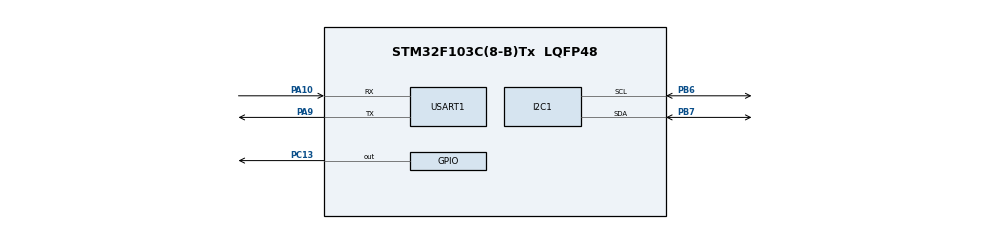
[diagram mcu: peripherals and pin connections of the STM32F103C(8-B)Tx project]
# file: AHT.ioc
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Mcu.Family=STM32F1
Mcu.Name=STM32F103C(8-B)Tx
Mcu.Package=LQFP48
NVIC.I2C1_EV_IRQn=true\:0\:0\:false\:false\:true\:true\:true\:true
NVIC.PriorityGroup=NVIC_PRIORITYGROUP_4
NVIC.USART1_IRQn=true\:0\:0\:false\:false\:true\:true\:true\:true
PA10.Mode=Asynchronous
PA10.Signal=USART1_RX
PA13.Mode=Serial_Wire
PA13.Signal=SYS_JTMS-SWDIO
PA14.Mode=Serial_Wire
PA14.Signal=SYS_JTCK-SWCLK
PA9.Mode=Asynchronous
PA9.Signal=USART1_TX
PB6.Mode=I2C
PB6.Signal=I2C1_SCL
PB7.Mode=I2C
PB7.Signal=I2C1_SDA
PC13-TAMPER-RTC.Signal=GPIO_Output
ProjectManager.HeapSize=0x200
ProjectManager.StackSize=0x400
ProjectManager.TargetToolchain=Makefile
RCC.APB1Freq_Value=8000000
RCC.APB2Freq_Value=8000000
USART1.VirtualMode=VM_ASYNC
board=custom

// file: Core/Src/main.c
/* USER CODE BEGIN Header */
/**
  ******************************************************************************
  * @file           : main.c
  * @brief          : Main program body
  ******************************************************************************
  * @attention
  *
  * Copyright (c) 2022 STMicroelectronics.
  * All rights reserved.
  *
  * This software is licensed under terms that can be found in the LICENSE file
  * in the root directory of this software component.
  * If no LICENSE file comes with this software, it is provided AS-IS.
  *
  ******************************************************************************
  */
/* USER CODE END Header */
#include "main.h"
#include "i2c.h"
#include "usart.h"
#include "gpio.h"

/* USER CODE BEGIN Includes */
#include "stdio.h"
#include "math.h"
/* USER CODE END Includes */

/* USER CODE BEGIN PM */
void reverse(char* str, int len)
{
    int i = 0, j = len - 1, temp;
    while (i < j) {
        temp = str[i];
        str[i] = str[j];
        str[j] = temp;
        i++;
        j--;
    }
}

int intToStr(int x, char str[], int d)
{
    int i = 0;
    while (x) {
        str[i++] = (x % 10) + '0';
        x = x / 10;
    }

    while (i < d)
        str[i++] = '0';

    reverse(str, i);
    str[i] = '\0';
    return i;
}

void ftoa(float n, char* res, int afterpoint)
{
    int ipart = (int)n;
    float fpart = n - (float)ipart;
    int i = intToStr(ipart, res, 0);
    if (afterpoint != 0)
    {
        res[i] = '.';
        fpart = fpart * pow(10, afterpoint);
        intToStr((int)fpart, res + i + 1, afterpoint);
    }
}
/* USER CODE END PM */

/* USER CODE BEGIN PV */
uint8_t AHT10_RX_Data[6];
uint32_t AHT10_ADC_Raw;
float AHT10_Temperature;
float AHT10_Humidity;
uint8_t temp[10] = {'\0'};
uint8_t humi[10] = {'\0'};
uint8_t AHT10_TmpHum_Cmd[3] = {0xAC, 0x33, 0x00};

#define AHT10_ADRESS (0x38 << 1) // 0b1110000; Adress[7-bit]Wite/Read[1-bit]
/* USER CODE END PV */

void SystemClock_Config(void);

int main(void)
{

  /* MCU Configuration--------------------------------------------------------*/

  /* Reset of all peripherals, Initializes the Flash interface and the Systick. */
  HAL_Init();

  /* Configure the system clock */
  SystemClock_Config();

  /* Initialize all configured peripherals */
  MX_GPIO_Init();
  MX_I2C1_Init();
  MX_USART1_UART_Init();
  /* USER CODE BEGIN 2 */
  // HAL_I2C_Master_Transmit(&hi2c1, AHT10_ADRESS, (uint8_t*)AHT10_TmpHum_Cmd, 3, 100); /* Send command (trigger measuremetns) + parameters */
  // HAL_I2C_Master_Receive(&hi2c1, AHT10_ADRESS, (uint8_t*)AHT10_RX_Data, 6,100); /* Receive data: STATUS[1]:HIMIDITY[2.5]:TEMPERATURE[2.5] */
  // HAL_UART_Transmit(&huart1, (uint8_t*)AHT10_RX_Data, 6, 100);
  /* USER CODE END 2 */

  /* Infinite loop */
  while (1)
  {
    HAL_I2C_Master_Transmit(&hi2c1, AHT10_ADRESS, (uint8_t*)AHT10_TmpHum_Cmd, 3, 100); /* Send command (trigger measuremetns) + parameters */
    HAL_Delay(100);
    HAL_I2C_Master_Receive(&hi2c1, AHT10_ADRESS, (uint8_t*)AHT10_RX_Data, 6,100); /* Receive data: STATUS[1]:HIMIDITY[2.5]:TEMPERATURE[2.5] */
    //HAL_UART_Transmit(&huart1, (uint8_t*)AHT10_RX_Data, 6, 100);

    if(~AHT10_RX_Data[0] & 0x80)
		{
			/* Convert to Temperature in °C */
			AHT10_ADC_Raw = (((uint32_t)AHT10_RX_Data[3] & 15) << 16) | ((uint32_t)AHT10_RX_Data[4] << 8) | AHT10_RX_Data[5];
			AHT10_Temperature = (float)(AHT10_ADC_Raw * 200.00 / 1048576.00) - 50.00;
			/* Convert to Relative Humidity in % */
			AHT10_ADC_Raw = ((uint32_t)AHT10_RX_Data[1] << 12) | ((uint32_t)AHT10_RX_Data[2] << 4) | (AHT10_RX_Data[3] >> 4);
			AHT10_Humidity = (float)(AHT10_ADC_Raw*100.00/1048576.00);
      ftoa(AHT10_Temperature, (char*)temp, 4);
      ftoa(AHT10_Humidity, (char*)humi, 4);
      HAL_UART_Transmit(&huart1, temp, 4, 100);
      HAL_UART_Transmit(&huart1, humi, 4, 100);
		}
  }
}
void SystemClock_Config(void)
{
  RCC_OscInitTypeDef RCC_OscInitStruct = {0};
  RCC_ClkInitTypeDef RCC_ClkInitStruct = {0};

  /** Initializes the RCC Oscillators according to the specified parameters
  * in the RCC_OscInitTypeDef structure.
  */
  RCC_OscInitStruct.OscillatorType = RCC_OSCILLATORTYPE_HSI;
  RCC_OscInitStruct.HSIState = RCC_HSI_ON;
  RCC_OscInitStruct.HSICalibrationValue = RCC_HSICALIBRATION_DEFAULT;
  RCC_OscInitStruct.PLL.PLLState = RCC_PLL_NONE;
  if (HAL_RCC_OscConfig(&RCC_OscInitStruct) != HAL_OK)
  {
    Error_Handler();
  }

  /** Initializes the CPU, AHB and APB buses clocks
  */
  RCC_ClkInitStruct.ClockType = RCC_CLOCKTYPE_HCLK|RCC_CLOCKTYPE_SYSCLK
                              |RCC_CLOCKTYPE_PCLK1|RCC_CLOCKTYPE_PCLK2;
  RCC_ClkInitStruct.SYSCLKSource = RCC_SYSCLKSOURCE_HSI;
  RCC_ClkInitStruct.AHBCLKDivider = RCC_SYSCLK_DIV1;
  RCC_ClkInitStruct.APB1CLKDivider = RCC_HCLK_DIV1;
  RCC_ClkInitStruct.APB2CLKDivider = RCC_HCLK_DIV1;

  if (HAL_RCC_ClockConfig(&RCC_ClkInitStruct, FLASH_LATENCY_0) != HAL_OK)
  {
    Error_Handler();
  }
}

/* USER CODE BEGIN 4 */
// void HAL_I2C_MasterRxCpltCallback(I2C_HandleTypeDef *hi2c)
// {
//   if(hi2c == &hi2c1)
//   {
//     HAL_UART_Transmit(&huart1, (uint8_t*)AHT10_RX_Data, 6, 100);
//   }
// }

/* USER CODE END 4 */

void Error_Handler(void)
{
  __disable_irq();
  while (1)
  {
  }
}
